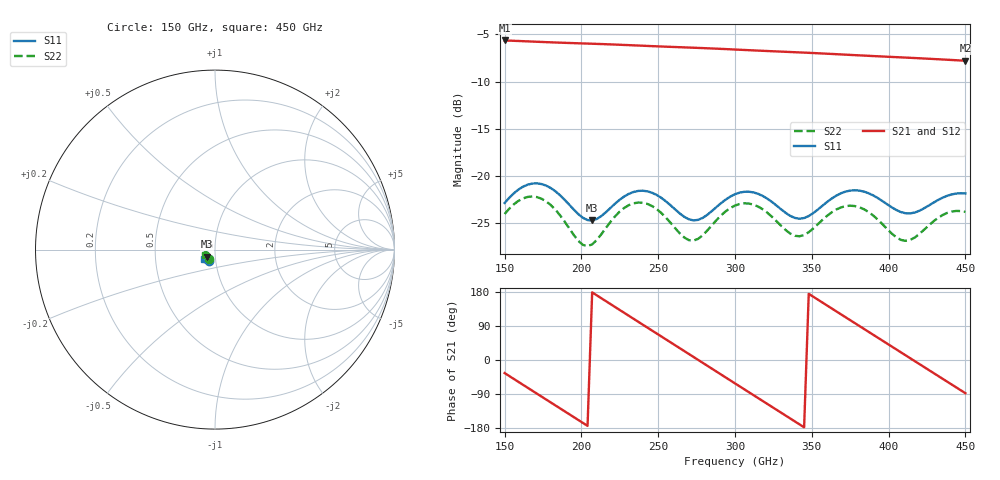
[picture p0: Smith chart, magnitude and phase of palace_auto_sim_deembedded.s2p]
! Created with skrf 1.11.0 (http://scikit-rf.org).
# GHz S DB R 50.0
!freq dBS11 angS11 dBS21 angS21 dBS12 angS12 dBS22 angS22
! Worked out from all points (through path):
!   101 points, 150 GHz to 450 GHz, reference 50 ohm
!   highest |S21| = -5.64 dB at 150 GHz (marker M1); lowest = -7.8 dB at 450 GHz (marker M2)
!   group delay of S21, straight-line fit = 7.16 ps
!   lowest |S11| = -24.7 dB at 207 GHz (marker M3), VSWR 1.12, Z = 45.8 - j3.65 ohm
!   |S11| at or under -10 dB: start of sweep to end of sweep
!   |S22| runs from -27.4 to -22.2 dB; largest |S21 - S12| = 9.8e-14
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150  -22.83 -116.9  -5.64 -34.5  -5.64 -34.5  -24.00 -119.2
162  -21.11 -124.2  -5.71 -65.5  -5.71 -65.5  -22.35 -129.2
174  -20.83 -136.9  -5.79 -96.5  -5.79 -96.5  -22.39 -144.0
186  -22.01 -147.1  -5.87 -127.4  -5.87 -127.4  -24.12 -155.1
201  -24.41 -144.0  -5.95 -166.1  -5.95 -166.1  -27.28 -146.2
207  -24.69 -137.0  -5.98 178.4  -5.98 178.4  -27.22 -135.3
219  -23.35 -128.3  -6.05 147.4  -6.05 147.4  -24.82 -127.1
231  -21.86 -132.8  -6.13 116.4  -6.13 116.4  -23.06 -135.7
252  -22.29 -148.8  -6.28 62.2  -6.28 62.2  -23.89 -156.3
264  -23.94 -149.2  -6.35 31.3  -6.35 31.3  -26.05 -156.0
276  -24.63 -138.1  -6.42 0.3  -6.42 0.3  -26.63 -140.8
288  -23.26 -131.0  -6.51 -30.7  -6.51 -30.7  -24.64 -134.4
300  -21.91 -135.3  -6.60 -61.7  -6.60 -61.7  -23.11 -141.7
321  -22.38 -149.4  -6.75 -115.8  -6.75 -115.8  -23.86 -159.7
336  -24.20 -146.9  -6.86 -154.4  -6.86 -154.4  -26.08 -156.9
351  -23.91 -133.3  -6.97 166.9  -6.97 166.9  -25.53 -142.1
366  -22.06 -133.3  -7.09 128.2  -7.09 128.2  -23.53 -145.1
378  -21.49 -140.8  -7.19 97.4  -7.19 97.4  -23.16 -155.1
402  -23.29 -148.4  -7.38 35.7  -7.38 35.7  -26.06 -162.7
423  -23.41 -134.7  -7.55 -18.3  -7.55 -18.3  -25.68 -142.2
438  -22.09 -135.2  -7.68 -56.8  -7.68 -56.8  -23.90 -145.9
450  -21.83 -140.4  -7.78 -87.6  -7.78 -87.6  -23.78 -153.8
